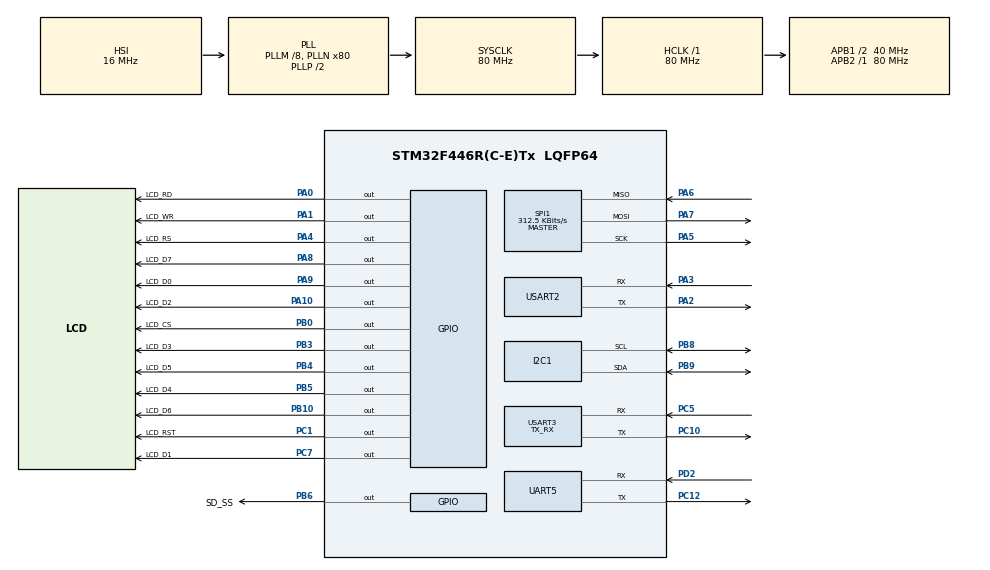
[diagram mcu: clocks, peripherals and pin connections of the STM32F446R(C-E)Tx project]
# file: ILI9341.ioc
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FATFS._MAX_SS=4096
FATFS._USE_LFN=1
Mcu.Family=STM32F4
Mcu.Name=STM32F446R(C-E)Tx
Mcu.Package=LQFP64
NVIC.PriorityGroup=NVIC_PRIORITYGROUP_4
NVIC.UART5_IRQn=true\:0\:0\:false\:false\:true\:true\:true\:true
PA0-WKUP.GPIO_Label=LCD_RD
PA0-WKUP.GPIO_Speed=GPIO_SPEED_FREQ_HIGH
PA0-WKUP.Signal=GPIO_Output
PA1.GPIO_Label=LCD_WR
PA1.GPIO_Speed=GPIO_SPEED_FREQ_HIGH
PA1.Signal=GPIO_Output
PA10.GPIO_Label=LCD_D2
PA10.GPIO_Speed=GPIO_SPEED_FREQ_HIGH
PA10.Signal=GPIO_Output
PA13.Mode=Serial_Wire
PA13.Signal=SYS_JTMS-SWDIO
PA14.Mode=Serial_Wire
PA14.Signal=SYS_JTCK-SWCLK
PA2.Mode=Asynchronous
PA2.Signal=USART2_TX
PA3.Mode=Asynchronous
PA3.Signal=USART2_RX
PA4.GPIO_Label=LCD_RS
PA4.GPIO_Speed=GPIO_SPEED_FREQ_HIGH
PA4.Signal=GPIO_Output
PA5.Mode=Full_Duplex_Master
PA5.Signal=SPI1_SCK
PA6.Mode=Full_Duplex_Master
PA6.Signal=SPI1_MISO
PA7.Mode=Full_Duplex_Master
PA7.Signal=SPI1_MOSI
PA8.GPIO_Label=LCD_D7
PA8.GPIO_Speed=GPIO_SPEED_FREQ_HIGH
PA8.Signal=GPIO_Output
PA9.GPIO_Label=LCD_D0
PA9.GPIO_Speed=GPIO_SPEED_FREQ_HIGH
PA9.Signal=GPIO_Output
PB0.GPIO_Label=LCD_CS
PB0.GPIO_Speed=GPIO_SPEED_FREQ_HIGH
PB0.Signal=GPIO_Output
PB10.GPIO_Label=LCD_D6
PB10.GPIO_Speed=GPIO_SPEED_FREQ_HIGH
PB10.Signal=GPIO_Output
PB3.GPIO_Label=LCD_D3
PB3.GPIO_Speed=GPIO_SPEED_FREQ_HIGH
PB3.Signal=GPIO_Output
PB4.GPIO_Label=LCD_D5
PB4.GPIO_Speed=GPIO_SPEED_FREQ_HIGH
PB4.Signal=GPIO_Output
PB5.GPIO_Label=LCD_D4
PB5.GPIO_Speed=GPIO_SPEED_FREQ_HIGH
PB5.Signal=GPIO_Output
PB6.GPIO_Label=SD_SS
PB6.GPIO_Speed=GPIO_SPEED_FREQ_HIGH
PB6.PinState=GPIO_PIN_SET
PB6.Signal=GPIO_Output
PB8.Mode=I2C
PB8.Signal=I2C1_SCL
PB9.Mode=I2C
PB9.Signal=I2C1_SDA
PC1.GPIO_Label=LCD_RST
PC1.GPIO_Speed=GPIO_SPEED_FREQ_HIGH
PC1.Signal=GPIO_Output
PC10.Mode=Asynchronous
PC10.Signal=USART3_TX
PC12.Mode=Asynchronous
PC12.Signal=UART5_TX
PC5.Mode=Asynchronous
PC5.Signal=USART3_RX
PC7.GPIO_Label=LCD_D1
PC7.GPIO_Speed=GPIO_SPEED_FREQ_HIGH
PC7.Signal=GPIO_Output
PD2.Mode=Asynchronous
PD2.Signal=UART5_RX
PH0-OSC_IN.Mode=HSE-External-Oscillator
PH0-OSC_IN.Signal=RCC_OSC_IN
PH1-OSC_OUT.Mode=HSE-External-Oscillator
PH1-OSC_OUT.Signal=RCC_OSC_OUT
ProjectManager.HeapSize=0x200
ProjectManager.StackSize=0x400
ProjectManager.TargetToolchain=STM32CubeIDE
RCC.AHBFreq_Value=80000000
RCC.APB1CLKDivider=RCC_HCLK_DIV2
RCC.APB1Freq_Value=40000000
RCC.APB1TimFreq_Value=80000000
RCC.APB2Freq_Value=80000000
RCC.APB2TimFreq_Value=80000000
RCC.CortexFreq_Value=80000000
RCC.HCLKFreq_Value=80000000
RCC.PLLM=8
RCC.PLLN=80
RCC.SYSCLKFreq_VALUE=80000000
RCC.SYSCLKSource=RCC_SYSCLKSOURCE_PLLCLK
RCC.USBFreq_Value=80000000
RCC.VCOOutputFreq_Value=160000000
SPI1.BaudRatePrescaler=SPI_BAUDRATEPRESCALER_256
SPI1.CalculateBaudRate=312.5 KBits/s
SPI1.Direction=SPI_DIRECTION_2LINES
SPI1.Mode=SPI_MODE_MASTER
SPI1.VirtualType=VM_MASTER
UART5.VirtualMode=Asynchronous
USART2.VirtualMode=VM_ASYNC
USART3.Mode=MODE_TX_RX
USART3.VirtualMode=VM_ASYNC
VP_FATFS_VS_Generic.Mode=User_defined
board=custom

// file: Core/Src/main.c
/* USER CODE BEGIN Header */
/**
 ******************************************************************************
 * @file           : main.c
 * @brief          : Main program body
 ******************************************************************************
 * @attention
 *
 * Copyright (c) 2024 STMicroelectronics.
 * All rights reserved.
 *
 * This software is licensed under terms that can be found in the LICENSE file
 * in the root directory of this software component.
 * If no LICENSE file comes with this software, it is provided AS-IS.
 *
 ******************************************************************************
 */
/* USER CODE END Header */
#include "main.h"
#include "fatfs.h"

/* USER CODE BEGIN Includes */
#include "ili9341.h"
#include "Bitmaps.h"
#include "fatfs.h"
#include <stdio.h>
#include <string.h>
/* USER CODE END Includes */

/* USER CODE BEGIN PD */
#define COLOR_FONDO    0x0842
#define COLOR_PANEL    0x10C4
#define COLOR_BARRA    0x2947
#define COLOR_CIAN     0x07FF
#define COLOR_BLANCO   0xFFFF
#define COLOR_GRIS     0xAD55
#define COLOR_VERDE    0x07E0
#define COLOR_AMARILLO 0xFFE0
#define COLOR_ROJO     0xF800

#define LUX_MAXIMO     9999
#define BH1750_ADDR (0x23 << 1)
#define BH1750_MODO_CONTINUO 0x10

/* Control de mediciones */
static uint8_t medicionValida = 0;
static uint16_t ultimaMedicion = 0;

/* Recepcion de comandos UART */
static char comandoUART[24];
static uint8_t indiceUART = 0;
/* USER CODE END PD */

I2C_HandleTypeDef hi2c1;

SPI_HandleTypeDef hspi1;

UART_HandleTypeDef huart5;
UART_HandleTypeDef huart2;
UART_HandleTypeDef huart3;

/* USER CODE BEGIN PV */
extern uint16_t fondo[];
int Mluz = 0;

/* Variables para prueba SD */
FATFS fs;
FRESULT resultadoSD;

/* USER CODE END PV */

void SystemClock_Config(void);
static void MX_GPIO_Init(void);
static void MX_SPI1_Init(void);
static void MX_I2C1_Init(void);
static void MX_USART3_UART_Init(void);
static void MX_USART2_UART_Init(void);
static void MX_UART5_Init(void);

/* USER CODE BEGIN 0 */

void DibujarDigito(int numero, int x, int y,
                   uint16_t color)
{
    const uint8_t segmentos[10] = {
        0x3F, // 0
        0x06, // 1
        0x5B, // 2
        0x4F, // 3
        0x66, // 4
        0x6D, // 5
        0x7D, // 6
        0x07, // 7
        0x7F, // 8
        0x6F  // 9
    };

    if (numero < 0 || numero > 9)
        return;

    uint8_t s = segmentos[numero];

    // Segmento A - superior
    if (s & 0x01)
        FillRect(x+5, y, 30, 6, color);

    // Segmento B - superior derecho
    if (s & 0x02)
        FillRect(x+34, y, 6, 28, color);

    // Segmento C - inferior derecho
    if (s & 0x04)
        FillRect(x+34, y+27, 6, 28, color);

    // Segmento D - inferior
    if (s & 0x08)
        FillRect(x+5, y+49, 30, 6, color);

    // Segmento E - inferior izquierdo
    if (s & 0x10)
        FillRect(x, y+27, 6, 28, color);

    // Segmento F - superior izquierdo
    if (s & 0x20)
        FillRect(x, y, 6, 28, color);

    // Segmento G - central
    if (s & 0x40)
        FillRect(x+5, y+25, 30, 6, color);
}

void MostrarLux(uint16_t lux)
{
    // Limpiar el area de los numeros
    FillRect(22, 75, 200, 60, COLOR_PANEL);

    // Limitar a 9999 lux
    if (lux > 9999)
    {
        lux = 9999;
    }

    // Separar los cuatro digitos
    int millares = lux / 1000;
    int centenas = (lux / 100) % 10;
    int decenas = (lux / 10) % 10;
    int unidades = lux % 10;

    // Dibujar millares
    if (lux >= 1000)
    {
        DibujarDigito(millares, 25, 77,
                      COLOR_CIAN);
    }

    // Dibujar centenas
    if (lux >= 100)
    {
        DibujarDigito(centenas, 75, 77,
                      COLOR_CIAN);
    }

    // Dibujar decenas
    if (lux >= 10)
    {
        DibujarDigito(decenas, 125, 77,
                      COLOR_CIAN);
    }

    // Dibujar unidades
    DibujarDigito(unidades, 175, 77,
                  COLOR_CIAN);
}

static void LuxMeter_DibujarBase(void)
{
    LCD_Clear(COLOR_FONDO);

    // Encabezado
    FillRect(0, 0, 320, 36, COLOR_PANEL);
    FillRect(0, 35, 320, 2, COLOR_CIAN);

    LCD_Print("LUXMETER PRO", 12, 10, 2,
              COLOR_BLANCO, COLOR_PANEL);

    LCD_Print("STM32", 264, 13, 1,
              COLOR_CIAN, COLOR_PANEL);

    // Area principal
    LCD_Print("INTENSIDAD LUMINICA", 18, 49, 1,
              COLOR_GRIS, COLOR_FONDO);

    // Panel del valor
    FillRect(16, 70, 288, 66, COLOR_PANEL);

    // Panel de nivel
    LCD_Print("NIVEL DE LUZ", 18, 150, 1,
              COLOR_GRIS, COLOR_FONDO);

    // Fondo de la barra
    FillRect(18, 174, 284, 14, COLOR_BARRA);

    LCD_Print("0 LUX", 18, 195, 1,
              COLOR_GRIS, COLOR_FONDO);

    LCD_Print("1000 LUX", 250, 195, 1,
              COLOR_GRIS, COLOR_FONDO);

    // Pie de pantalla
    FillRect(0, 218, 320, 22, COLOR_PANEL);

    FillRect(12, 225, 7, 7, COLOR_VERDE);

    LCD_Print("SENSOR ACTIVO", 25, 224, 1,
              COLOR_BLANCO, COLOR_PANEL);

    LCD_Print("ONLINE", 267, 224, 1,
              COLOR_VERDE, COLOR_PANEL);
}

static void LuxMeter_Actualizar(uint16_t lux)
{
    char texto[20];
    uint16_t colorNivel;
    const char *estado;
    uint16_t ancho;

    // Clasificacion visual
    if (lux < 100)
    {
        estado = "BAJO";
        colorNivel = COLOR_GRIS;
    }
    else if (lux < 500)
    {
        estado = "NORMAL";
        colorNivel = COLOR_CIAN;
    }
    else if (lux < 2000)
    {
        estado = "ALTO";
        colorNivel = COLOR_VERDE;
    }
    else
    {
        estado = "PELIGROSO";
        colorNivel = COLOR_AMARILLO;
    }

    // Actualizar valor numerico
    MostrarLux(lux);

    LCD_Print("LUX", 229, 96, 2,
              COLOR_CIAN, COLOR_PANEL);

    // Actualizar estado
    FillRect(220, 145, 84, 21, COLOR_FONDO);

    LCD_Print((char *)estado, 228, 151, 1,
              colorNivel, COLOR_FONDO);

    // Actualizar barra
    FillRect(18, 174, 284, 14, COLOR_BARRA);

    uint16_t valorBarra = lux;

    if (valorBarra > LUX_MAXIMO)
    {
        valorBarra = LUX_MAXIMO;
    }

    ancho = (uint16_t)
            (((uint32_t)valorBarra * 284)
            / LUX_MAXIMO);

    if (ancho > 0)
    {
        FillRect(18, 174, ancho, 14,
                 colorNivel);
    }
}

static HAL_StatusTypeDef BH1750_Iniciar(void)
{
    uint8_t comando = BH1750_MODO_CONTINUO;

    if (HAL_I2C_IsDeviceReady(
            &hi2c1, BH1750_ADDR, 3, 100) != HAL_OK)
    {
        return HAL_ERROR;
    }

    if (HAL_I2C_Master_Transmit(
            &hi2c1, BH1750_ADDR,
            &comando, 1, 100) != HAL_OK)
    {
        return HAL_ERROR;
    }

    HAL_Delay(180);
    return HAL_OK;
}

static HAL_StatusTypeDef BH1750_Leer(void)
{
    uint8_t datos[2];

    if (HAL_I2C_Master_Receive(
            &hi2c1, BH1750_ADDR,
            datos, 2, 100) != HAL_OK)
    {
        return HAL_ERROR;
    }

    uint16_t raw =
        ((uint16_t)datos[0] << 8) | datos[1];

    // Guardar intensidad luminica en Mluz
    Mluz = (9999*(uint32_t)raw)/65535;

    return HAL_OK;
}

static FRESULT SD_GuardarMedicion(void)
{
    FIL archivo;
    FRESULT res;
    FRESULT cierre;
    UINT escritos = 0;
    char registro[40];

    if (!medicionValida)
    {
        return FR_INVALID_OBJECT;
    }

    int longitud = snprintf(
        registro,
        sizeof(registro),
        "%u,lux\r\n",
        (unsigned int)ultimaMedicion
    );

    if (longitud <= 0 ||
        longitud >= (int)sizeof(registro))
    {
        return FR_INT_ERR;
    }

    res = f_open(
        &archivo,
        "DATOS.CSV",
        FA_OPEN_ALWAYS | FA_WRITE
    );

    if (res != FR_OK)
    {
        return res;
    }

    res = f_lseek(&archivo, f_size(&archivo));

    if (res == FR_OK)
    {
        res = f_write(
            &archivo,
            registro,
            (UINT)longitud,
            &escritos
        );
    }

    if (res == FR_OK && escritos != (UINT)longitud)
    {
        res = FR_DISK_ERR;
    }

    cierre = f_close(&archivo);

    if (res == FR_OK)
    {
        res = cierre;
    }

    return res;
}

static FRESULT SD_LeerArchivo(void)
{
    FIL archivo;
    FRESULT resultado;
    FRESULT cierre;
    UINT bytesLeidos;

    char buffer[128];

    // Abrir archivo existente para lectura
    resultado = f_open(&archivo, "DATOS.CSV", FA_READ);

    if (resultado != FR_OK)
    {
        return resultado;
    }

    // Leer el archivo por bloques
    do
    {
        resultado = f_read(
            &archivo,
            buffer,
            sizeof(buffer) - 1,
            &bytesLeidos
        );

        if (resultado != FR_OK)
        {
            break;
        }

        // Agregar terminador de cadena
        buffer[bytesLeidos] = '\0';

        // Enviar contenido por UART
        if (bytesLeidos > 0)
        {
				if (HAL_UART_Transmit(
					    &huart5,
					    (uint8_t *)buffer,
					    (uint16_t)bytesLeidos,
					    1000
            ) != HAL_OK)
            {
                resultado = FR_INT_ERR;
                break;
            }
        }

    } while (bytesLeidos > 0);

    // Cerrar archivo
    cierre = f_close(&archivo);

    if (resultado == FR_OK)
    {
        resultado = cierre;
    }

    return resultado;
}

static void UART_Enviar(const char *texto)
{
    HAL_UART_Transmit(
        &huart5,
        (uint8_t *)texto,
        (uint16_t)strlen(texto),
        1000
    );
}

static void ProcesarComando(const char *comando)
{
    char respuesta[64];

    if (strcmp(comando, "LEER") == 0)
    {
        if (BH1750_Leer() == HAL_OK)
        {
            ultimaMedicion = (uint16_t)Mluz;
            medicionValida = 1;

            LuxMeter_Actualizar(ultimaMedicion);

            snprintf(
                respuesta,
                sizeof(respuesta),
                "MEDICION:%u lux\r\n",
                (unsigned int)ultimaMedicion
            );

            UART_Enviar(respuesta);
        }
        else
        {
            UART_Enviar("ERROR_SENSOR\r\n");
        }
    }
    else if (strcmp(comando, "GUARDAR") == 0)
    {
        if (!medicionValida)
        {
            UART_Enviar("ERROR_SIN_MEDICION\r\n");
            return;
        }

        FRESULT res = SD_GuardarMedicion();

        if (res == FR_OK)
        {
            UART_Enviar("GUARDADO_OK\r\n");
        }
        else
        {
            snprintf(
                respuesta,
                sizeof(respuesta),
                "ERROR_SD:%d\r\n",
                (int)res
            );

            UART_Enviar(respuesta);
        }
    }
    else if (strcmp(comando, "ESTADO") == 0)
    {
        if (medicionValida)
        {
            UART_Enviar("MEDICION_DISPONIBLE\r\n");
        }
        else
        {
            UART_Enviar("SIN_MEDICION\r\n");
        }
    }
    else if (strcmp(comando, "VER") == 0)
    {
        FRESULT res = SD_LeerArchivo();

        if (res != FR_OK)
        {
            snprintf(
                respuesta,
                sizeof(respuesta),
                "ERROR_LECTURA_SD:%d\r\n",
                (int)res
            );

            UART_Enviar(respuesta);
        }
    }
    else
    {
        UART_Enviar("COMANDO_DESCONOCIDO\r\n");
    }
}
/* USER CODE END 0 */

int main(void)
{

  /* MCU Configuration--------------------------------------------------------*/

  /* Reset of all peripherals, Initializes the Flash interface and the Systick. */
  HAL_Init();

  /* Configure the system clock */
  SystemClock_Config();

  /* Initialize all configured peripherals */
  MX_GPIO_Init();
  MX_SPI1_Init();
  MX_I2C1_Init();
  MX_USART3_UART_Init();
  MX_FATFS_Init();
  MX_USART2_UART_Init();
  MX_UART5_Init();
  /* USER CODE BEGIN 2 */

  /* PRUEBA DE UART */

	LCD_Init();

	LCD_Clear(0x00);

	LuxMeter_DibujarBase();
	LuxMeter_Actualizar(0);

	uint8_t sensorListo = (BH1750_Iniciar() == HAL_OK);

	/* Montar tarjeta SD */
	resultadoSD = f_mount(&USERFatFS, USERPath, 1);

	if (resultadoSD == FR_OK)
	{
	    UART_Enviar("SD MONTADA CORRECTAMENTE\r\n");
	}
	else
	{
	    UART_Enviar("ERROR AL MONTAR SD\r\n");
	}
	if (resultadoSD == FR_OK)
	{
	    LCD_Print("SD OK", 220, 224, 1,
	              COLOR_VERDE, COLOR_PANEL);
	}
	else
	{
	    LCD_Print("SD ERROR", 220, 224, 1,
	              COLOR_ROJO, COLOR_PANEL);
	}

	UART_Enviar("NUCLEO 2 LISTA\r\n");
	UART_Enviar("COMANDOS: LEER, GUARDAR, ESTADO, VER\r\n");

  /* USER CODE END 2 */

  /* Infinite loop */
  /* USER CODE BEGIN WHILE */

	//uint16_t luxSimulado = 0;

	while (1)
	{
	    uint8_t caracter;

	    // Esperar un caracter desde Hercules por USART2
	    if (HAL_UART_Receive(&huart5, &caracter, 1, 20) == HAL_OK)
	    {
	        // Detectar fin del comando
	        if (caracter == '\r' || caracter == '\n')
	        {
	            if (indiceUART > 0)
	            {
	                // Terminar la cadena de texto
	                comandoUART[indiceUART] = '\0';

	                // Ejecutar LEER, GUARDAR, ESTADO o VER
	                ProcesarComando(comandoUART);

	                // Preparar para el siguiente comando
	                indiceUART = 0;
	            }
	        }
	        else if (indiceUART < sizeof(comandoUART) - 1)
	        {
	            // Guardar el caracter recibido
	            comandoUART[indiceUART++] = (char)caracter;
	        }
	        else
	        {
	            // El comando supera el tamaño permitido
	            indiceUART = 0;
	            UART_Enviar("ERROR_COMANDO_LARGO\r\n");
	        }
	    }

    /* USER CODE END WHILE */

	}
}

void SystemClock_Config(void)
{
  RCC_OscInitTypeDef RCC_OscInitStruct = {0};
  RCC_ClkInitTypeDef RCC_ClkInitStruct = {0};

  /** Configure the main internal regulator output voltage
  */
  __HAL_RCC_PWR_CLK_ENABLE();
  __HAL_PWR_VOLTAGESCALING_CONFIG(PWR_REGULATOR_VOLTAGE_SCALE3);

  /** Initializes the RCC Oscillators according to the specified parameters
  * in the RCC_OscInitTypeDef structure.
  */
  RCC_OscInitStruct.OscillatorType = RCC_OSCILLATORTYPE_HSI;
  RCC_OscInitStruct.HSIState = RCC_HSI_ON;
  RCC_OscInitStruct.HSICalibrationValue = RCC_HSICALIBRATION_DEFAULT;
  RCC_OscInitStruct.PLL.PLLState = RCC_PLL_ON;
  RCC_OscInitStruct.PLL.PLLSource = RCC_PLLSOURCE_HSI;
  RCC_OscInitStruct.PLL.PLLM = 8;
  RCC_OscInitStruct.PLL.PLLN = 80;
  RCC_OscInitStruct.PLL.PLLP = RCC_PLLP_DIV2;
  RCC_OscInitStruct.PLL.PLLQ = 2;
  RCC_OscInitStruct.PLL.PLLR = 2;
  if (HAL_RCC_OscConfig(&RCC_OscInitStruct) != HAL_OK)
  {
    Error_Handler();
  }

  /** Initializes the CPU, AHB and APB buses clocks
  */
  RCC_ClkInitStruct.ClockType = RCC_CLOCKTYPE_HCLK|RCC_CLOCKTYPE_SYSCLK
                              |RCC_CLOCKTYPE_PCLK1|RCC_CLOCKTYPE_PCLK2;
  RCC_ClkInitStruct.SYSCLKSource = RCC_SYSCLKSOURCE_PLLCLK;
  RCC_ClkInitStruct.AHBCLKDivider = RCC_SYSCLK_DIV1;
  RCC_ClkInitStruct.APB1CLKDivider = RCC_HCLK_DIV2;
  RCC_ClkInitStruct.APB2CLKDivider = RCC_HCLK_DIV1;

  if (HAL_RCC_ClockConfig(&RCC_ClkInitStruct, FLASH_LATENCY_2) != HAL_OK)
  {
    Error_Handler();
  }
}

static void MX_I2C1_Init(void)
{

  hi2c1.Instance = I2C1;
  hi2c1.Init.ClockSpeed = 100000;
  hi2c1.Init.DutyCycle = I2C_DUTYCYCLE_2;
  hi2c1.Init.OwnAddress1 = 0;
  hi2c1.Init.AddressingMode = I2C_ADDRESSINGMODE_7BIT;
  hi2c1.Init.DualAddressMode = I2C_DUALADDRESS_DISABLE;
  hi2c1.Init.OwnAddress2 = 0;
  hi2c1.Init.GeneralCallMode = I2C_GENERALCALL_DISABLE;
  hi2c1.Init.NoStretchMode = I2C_NOSTRETCH_DISABLE;
  if (HAL_I2C_Init(&hi2c1) != HAL_OK)
  {
    Error_Handler();
  }

}

static void MX_SPI1_Init(void)
{

  /* SPI1 parameter configuration*/
  hspi1.Instance = SPI1;
  hspi1.Init.Mode = SPI_MODE_MASTER;
  hspi1.Init.Direction = SPI_DIRECTION_2LINES;
  hspi1.Init.DataSize = SPI_DATASIZE_8BIT;
  hspi1.Init.CLKPolarity = SPI_POLARITY_LOW;
  hspi1.Init.CLKPhase = SPI_PHASE_1EDGE;
  hspi1.Init.NSS = SPI_NSS_SOFT;
  hspi1.Init.BaudRatePrescaler = SPI_BAUDRATEPRESCALER_256;
  hspi1.Init.FirstBit = SPI_FIRSTBIT_MSB;
  hspi1.Init.TIMode = SPI_TIMODE_DISABLE;
  hspi1.Init.CRCCalculation = SPI_CRCCALCULATION_DISABLE;
  hspi1.Init.CRCPolynomial = 10;
  if (HAL_SPI_Init(&hspi1) != HAL_OK)
  {
    Error_Handler();
  }

}

static void MX_UART5_Init(void)
{

  huart5.Instance = UART5;
  huart5.Init.BaudRate = 115200;
  huart5.Init.WordLength = UART_WORDLENGTH_8B;
  huart5.Init.StopBits = UART_STOPBITS_1;
  huart5.Init.Parity = UART_PARITY_NONE;
  huart5.Init.Mode = UART_MODE_TX_RX;
  huart5.Init.HwFlowCtl = UART_HWCONTROL_NONE;
  huart5.Init.OverSampling = UART_OVERSAMPLING_16;
  if (HAL_UART_Init(&huart5) != HAL_OK)
  {
    Error_Handler();
  }

}

static void MX_USART2_UART_Init(void)
{

  huart2.Instance = USART2;
  huart2.Init.BaudRate = 115200;
  huart2.Init.WordLength = UART_WORDLENGTH_8B;
  huart2.Init.StopBits = UART_STOPBITS_1;
  huart2.Init.Parity = UART_PARITY_NONE;
  huart2.Init.Mode = UART_MODE_TX_RX;
  huart2.Init.HwFlowCtl = UART_HWCONTROL_NONE;
  huart2.Init.OverSampling = UART_OVERSAMPLING_16;
  if (HAL_UART_Init(&huart2) != HAL_OK)
  {
    Error_Handler();
  }

}

static void MX_USART3_UART_Init(void)
{

  huart3.Instance = USART3;
  huart3.Init.BaudRate = 115200;
  huart3.Init.WordLength = UART_WORDLENGTH_8B;
  huart3.Init.StopBits = UART_STOPBITS_1;
  huart3.Init.Parity = UART_PARITY_NONE;
  huart3.Init.Mode = UART_MODE_TX_RX;
  huart3.Init.HwFlowCtl = UART_HWCONTROL_NONE;
  huart3.Init.OverSampling = UART_OVERSAMPLING_16;
  if (HAL_UART_Init(&huart3) != HAL_OK)
  {
    Error_Handler();
  }

}

static void MX_GPIO_Init(void)
{
  GPIO_InitTypeDef GPIO_InitStruct = {0};

  /* GPIO Ports Clock Enable */
  __HAL_RCC_GPIOH_CLK_ENABLE();
  __HAL_RCC_GPIOC_CLK_ENABLE();
  __HAL_RCC_GPIOA_CLK_ENABLE();
  __HAL_RCC_GPIOB_CLK_ENABLE();
  __HAL_RCC_GPIOD_CLK_ENABLE();

  /*Configure GPIO pin Output Level */
  HAL_GPIO_WritePin(GPIOC, LCD_RST_Pin|LCD_D1_Pin, GPIO_PIN_RESET);

  /*Configure GPIO pin Output Level */
  HAL_GPIO_WritePin(GPIOA, LCD_RD_Pin|LCD_WR_Pin|LCD_RS_Pin|LCD_D7_Pin
                          |LCD_D0_Pin|LCD_D2_Pin, GPIO_PIN_RESET);

  /*Configure GPIO pin Output Level */
  HAL_GPIO_WritePin(GPIOB, LCD_CS_Pin|LCD_D6_Pin|LCD_D3_Pin|LCD_D5_Pin
                          |LCD_D4_Pin, GPIO_PIN_RESET);

  /*Configure GPIO pin Output Level */
  HAL_GPIO_WritePin(SD_SS_GPIO_Port, SD_SS_Pin, GPIO_PIN_SET);

  /*Configure GPIO pins : LCD_RST_Pin LCD_D1_Pin */
  GPIO_InitStruct.Pin = LCD_RST_Pin|LCD_D1_Pin;
  GPIO_InitStruct.Mode = GPIO_MODE_OUTPUT_PP;
  GPIO_InitStruct.Pull = GPIO_NOPULL;
  GPIO_InitStruct.Speed = GPIO_SPEED_FREQ_HIGH;
  HAL_GPIO_Init(GPIOC, &GPIO_InitStruct);

  /*Configure GPIO pins : LCD_RD_Pin LCD_WR_Pin LCD_RS_Pin LCD_D7_Pin
                           LCD_D0_Pin LCD_D2_Pin */
  GPIO_InitStruct.Pin = LCD_RD_Pin|LCD_WR_Pin|LCD_RS_Pin|LCD_D7_Pin
                          |LCD_D0_Pin|LCD_D2_Pin;
  GPIO_InitStruct.Mode = GPIO_MODE_OUTPUT_PP;
  GPIO_InitStruct.Pull = GPIO_NOPULL;
  GPIO_InitStruct.Speed = GPIO_SPEED_FREQ_HIGH;
  HAL_GPIO_Init(GPIOA, &GPIO_InitStruct);

  /*Configure GPIO pins : LCD_CS_Pin LCD_D6_Pin LCD_D3_Pin LCD_D5_Pin
                           LCD_D4_Pin SD_SS_Pin */
  GPIO_InitStruct.Pin = LCD_CS_Pin|LCD_D6_Pin|LCD_D3_Pin|LCD_D5_Pin
                          |LCD_D4_Pin|SD_SS_Pin;
  GPIO_InitStruct.Mode = GPIO_MODE_OUTPUT_PP;
  GPIO_InitStruct.Pull = GPIO_NOPULL;
  GPIO_InitStruct.Speed = GPIO_SPEED_FREQ_HIGH;
  HAL_GPIO_Init(GPIOB, &GPIO_InitStruct);

}

void Error_Handler(void)
{
	__disable_irq();
	while (1) {
	}
}
